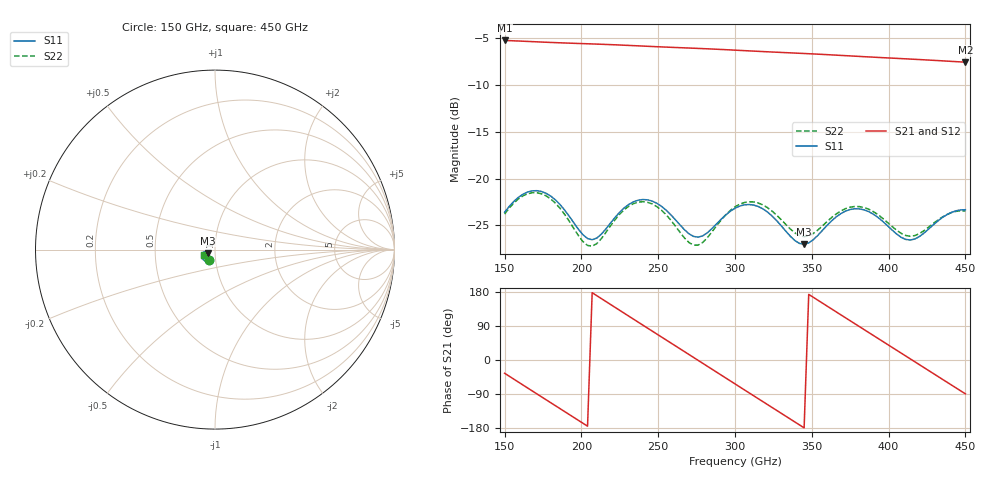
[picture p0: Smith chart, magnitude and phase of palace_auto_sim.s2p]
#  GHZ S DB R 50
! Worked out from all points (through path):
!   101 points, 150 GHz to 450 GHz, reference 50 ohm
!   highest |S21| = -5.28 dB at 150 GHz (marker M1); lowest = -7.6 dB at 450 GHz (marker M2)
!   group delay of S21, straight-line fit = 7.17 ps
!   lowest |S11| = -27.0 dB at 345 GHz (marker M3), VSWR 1.09, Z = 46.1 - j1.76 ohm
!   |S11| at or under -10 dB: start of sweep to end of sweep
!   |S22| runs from -27.2 to -21.5 dB; largest |S21 - S12| = 6e-14
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150  -23.59 -121.4  -5.28 -35.0  -5.28 -35.0  -23.79 -120.0
162  -21.66 -130.7  -5.36 -66.1  -5.36 -66.1  -21.84 -130.1
174  -21.38 -145.8  -5.45 -97.2  -5.45 -97.2  -21.62 -145.9
186  -22.75 -158.6  -5.53 -128.1  -5.53 -128.1  -23.15 -159.1
201  -25.99 -156.4  -5.61 -166.9  -5.61 -166.9  -26.72 -155.3
213  -25.92 -137.9  -5.68 162.0  -5.68 162.0  -26.40 -134.2
228  -23.11 -137.2  -5.79 123.1  -5.79 123.1  -23.30 -134.7
240  -22.23 -148.9  -5.88 92.1  -5.88 92.1  -22.47 -147.4
252  -22.94 -160.6  -5.96 61.1  -5.96 61.1  -23.35 -159.7
264  -24.91 -164.2  -6.05 30.1  -6.05 30.1  -25.68 -162.4
276  -26.25 -152.6  -6.13 -1.0  -6.13 -1.0  -27.09 -146.1
288  -24.83 -142.4  -6.21 -32.0  -6.21 -32.0  -25.03 -134.2
300  -23.16 -147.0  -6.31 -63.0  -6.31 -63.0  -23.01 -139.9
321  -23.55 -165.6  -6.48 -117.2  -6.48 -117.2  -23.08 -159.8
345  -27.00 -154.8  -6.67 -179.1  -6.67 -179.1  -26.19 -153.1
351  -26.51 -146.8  -6.72 165.4  -6.72 165.4  -25.86 -146.3
366  -24.07 -144.2  -6.84 126.7  -6.84 126.7  -23.76 -143.9
378  -23.22 -153.2  -6.95 95.8  -6.95 95.8  -22.97 -152.2
402  -25.44 -164.5  -7.16 34.1  -7.16 34.1  -25.07 -163.3
423  -25.82 -144.9  -7.34 -19.9  -7.34 -19.9  -25.56 -145.9
438  -23.84 -145.3  -7.48 -58.5  -7.48 -58.5  -23.83 -146.1
450  -23.32 -152.9  -7.59 -89.3  -7.59 -89.3  -23.46 -153.3
